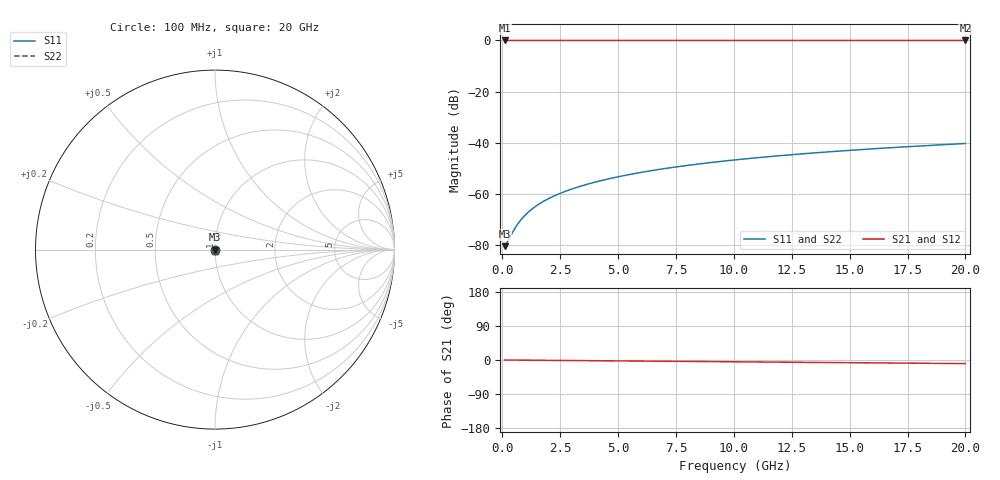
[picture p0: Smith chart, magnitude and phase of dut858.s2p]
! Touchstone file exported from HFSS 2026.1.0
!  File:  C:/ffzhzh/LocalFiles/Ansys_Project_Files/temp_train_TSV_858_1783185277_55132.aedt
!  Generated:  01:15:55 AM Jul  5, 2026
!  Design:  TSV
!  Project:  temp_train_TSV_858_1783185277_55132
! Variables:
!  h_bsmrdl = 2um
!  h_ox = 20um
!  h_rdl = 5um
!  h_sub = 95.95um
!  h_tmrdl = 5um
!  h_tsv = 95.95um
!  h_via = 3um
!  l_bsmrdl = 300um
!  l_sub = 426.88um
!  l_tmrdl = 200um
!  m_sub = 200um
!  pitch = 50.92um
!  r_tsv = 13.44um
!  s_tmrdl = 10um
!  w_bsmrdl = 18um
!  w_sub = 500um
!  w_tmrdl = 12um
!  x_tsv_center1 = 206um
!  x_tsv_center2 = 524um
!  x_tsv_center3 = 736um
!  x_tsv_center4 = 1054um
!  x_tsv_center5 = 1266um
!  x_tsv_center6 = 1584um
# GHz S MA R 50.000000
! Terminal data exported
! Port[1] = TSV1_1_T1
! Port[2] = TSV1_1_T2
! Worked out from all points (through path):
!   200 points, 100 MHz to 20 GHz, reference 50 ohm
!   highest |S21| = 0.00 dB at 100 MHz (marker M1); lowest = 0.0 dB at 20 GHz (marker M2)
!   group delay of S21, straight-line fit = 1.31 ps
!   lowest |S11| = -80.5 dB at 100 MHz (marker M3), VSWR 1.00, Z = 50 + j6.65e-05 ohm
!   |S11| at or under -10 dB: start of sweep to end of sweep
!   |S22| runs from -80.5 to -40.3 dB; largest |S21 - S12| = 2.3e-15
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0.1  9.443e-05 0.4  0.9999 -0.1  0.9999 -0.1  9.443e-05 0.4
! Gamma 0 0 0 0
! Port Impedance 50 0 50 0
0.2  0.00011 -1.5  0.9999 -0.1  0.9999 -0.1  0.00011 -1.5
0.5  0.0001952 -17.3  0.9998 -0.2  0.9998 -0.2  0.0001952 -17.3
0.7  0.0002683 -28.3  0.9998 -0.3  0.9998 -0.3  0.0002683 -28.3
0.8  0.0003071 -33.0  0.9997 -0.4  0.9997 -0.4  0.0003071 -33.0
1  0.0003872 -40.8  0.9997 -0.5  0.9997 -0.5  0.0003872 -40.8
1.3  0.0005106 -49.5  0.9997 -0.6  0.9997 -0.6  0.0005106 -49.5
1.5  0.0005939 -53.7  0.9996 -0.7  0.9996 -0.7  0.0005939 -53.7
1.7  0.000678 -57.1  0.9996 -0.8  0.9996 -0.8  0.000678 -57.1
2.2  0.0008906 -63.2  0.9996 -1.1  0.9996 -1.1  0.0008907 -63.2
2.8  0.001151 -67.9  0.9995 -1.3  0.9995 -1.3  0.001151 -67.9
3.5  0.001462 -71.4  0.9995 -1.7  0.9995 -1.7  0.001462 -71.4
4.2  0.00178 -73.9  0.9994 -2.0  0.9994 -2.0  0.00178 -73.9
5  0.002152 -76.0  0.9994 -2.4  0.9994 -2.4  0.002152 -76.0
5.9  0.002578 -77.9  0.9993 -2.8  0.9993 -2.8  0.002578 -77.9
6.8  0.003011 -79.5  0.9993 -3.2  0.9993 -3.2  0.003011 -79.5
8.3  0.003741 -81.8  0.9992 -3.9  0.9992 -3.9  0.003742 -81.8
10.1  0.004628 -84.0  0.9991 -4.8  0.9991 -4.8  0.004629 -84.0
11.7  0.005423 -85.7  0.9991 -5.5  0.9991 -5.5  0.005423 -85.7
13.4  0.006273 -87.2  0.999 -6.3  0.999 -6.3  0.006273 -87.2
16.7  0.007939 -89.9  0.9989 -7.9  0.9989 -7.9  0.007939 -89.9
20  0.009634 -92.2  0.9987 -9.5  0.9987 -9.5  0.009634 -92.1
